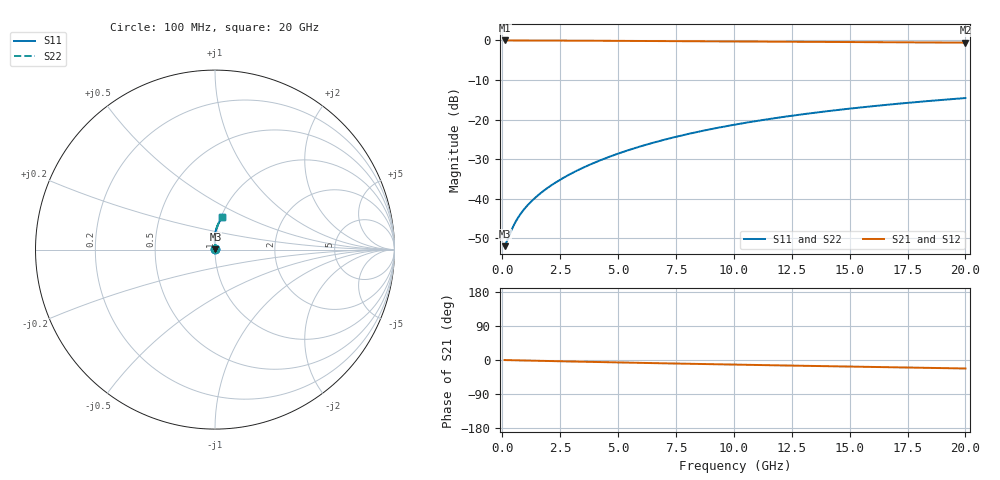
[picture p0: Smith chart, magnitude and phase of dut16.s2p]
! Touchstone file exported from HFSS 2024.1.0
!  File:  C:/UserFiles/LocalFiles/RDL_TSV_Batchsim/temp_RDL_top_16_1778680052.aedt
!  Generated:  09:49:55 PM May 13, 2026
!  Design:  RDL_top
!  Project:  temp_RDL_top_16_1778680052
!  Setup:  Setup1
!  Solution:  Sweep
! Variables:
!  dtsv = 10.80580581um
!  hbump = 3um
!  htsv = 78.53um
!  ldown = 100um
!  lrdl = 324.32um
!  p = 40
!  p1 = 44.62um
!  rhole = 1um
!  t = 450um
!  tdown = 3.915915916um
!  trdl = 2.11um
!  wdown = 15.38538539um
!  wrdl = 27.97um
# GHz S MA R 50.000000
! Terminal data exported
! Port[1] = Box2_T1
! Port[2] = Box2_T2
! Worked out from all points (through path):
!   200 points, 100 MHz to 20 GHz, reference 50 ohm
!   highest |S21| = -0.02 dB at 100 MHz (marker M1); lowest = -0.6 dB at 20 GHz (marker M2)
!   group delay of S21, straight-line fit = 3.07 ps
!   lowest |S11| = -51.9 dB at 100 MHz (marker M3), VSWR 1.01, Z = 50.2 + j0.0842 ohm
!   |S11| at or under -10 dB: start of sweep to end of sweep
!   |S22| runs from -51.9 to -14.6 dB; largest |S21 - S12| = 2.2e-15
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0.1  0.002527 19.4  0.9976 -0.1  0.9976 -0.1  0.002527 19.4
! Gamma 0 0 0 0
! Port Impedance 50 0 50 0
0.2  0.002918 34.3  0.9975 -0.3  0.9975 -0.3  0.00292 34.3
0.4  0.004047 51.3  0.9972 -0.6  0.9972 -0.6  0.004052 51.3
0.6  0.005288 59.6  0.9969 -0.8  0.9969 -0.8  0.005292 59.6
0.7  0.005906 62.4  0.9967 -1.0  0.9967 -1.0  0.00591 62.4
0.9  0.007128 66.8  0.9965 -1.2  0.9965 -1.2  0.007131 66.8
1.2  0.008954 71.7  0.996 -1.6  0.996 -1.6  0.008956 71.7
1.4  0.01019 74.3  0.9957 -1.9  0.9957 -1.9  0.01019 74.3
1.7  0.01208 77.5  0.9953 -2.3  0.9953 -2.3  0.01208 77.5
2.2  0.01537 81.6  0.9943 -2.9  0.9943 -2.9  0.01537 81.7
2.8  0.01956 85.2  0.993 -3.7  0.993 -3.7  0.01957 85.2
3.5  0.0248 88.0  0.9912 -4.6  0.9912 -4.6  0.0248 88.1
4.2  0.0304 89.9  0.9891 -5.5  0.9891 -5.5  0.0304 90.0
5  0.0372 91.3  0.9865 -6.4  0.9865 -6.4  0.03721 91.3
5.9  0.04531 92.0  0.9834 -7.5  0.9834 -7.5  0.04532 92.0
6.8  0.05381 92.1  0.9802 -8.6  0.9802 -8.6  0.05382 92.1
8.4  0.06962 91.3  0.9744 -10.4  0.9744 -10.4  0.06964 91.3
10.1  0.087 89.7  0.9683 -12.2  0.9683 -12.2  0.08704 89.8
11.7  0.1036 87.9  0.9628 -13.9  0.9628 -13.9  0.1036 87.9
13.4  0.1212 85.7  0.9571 -15.7  0.9571 -15.7  0.1212 85.7
16.7  0.1547 81.4  0.9465 -19.1  0.9465 -19.1  0.1548 81.4
20  0.187 77.1  0.9362 -22.4  0.9362 -22.4  0.1871 77.1
